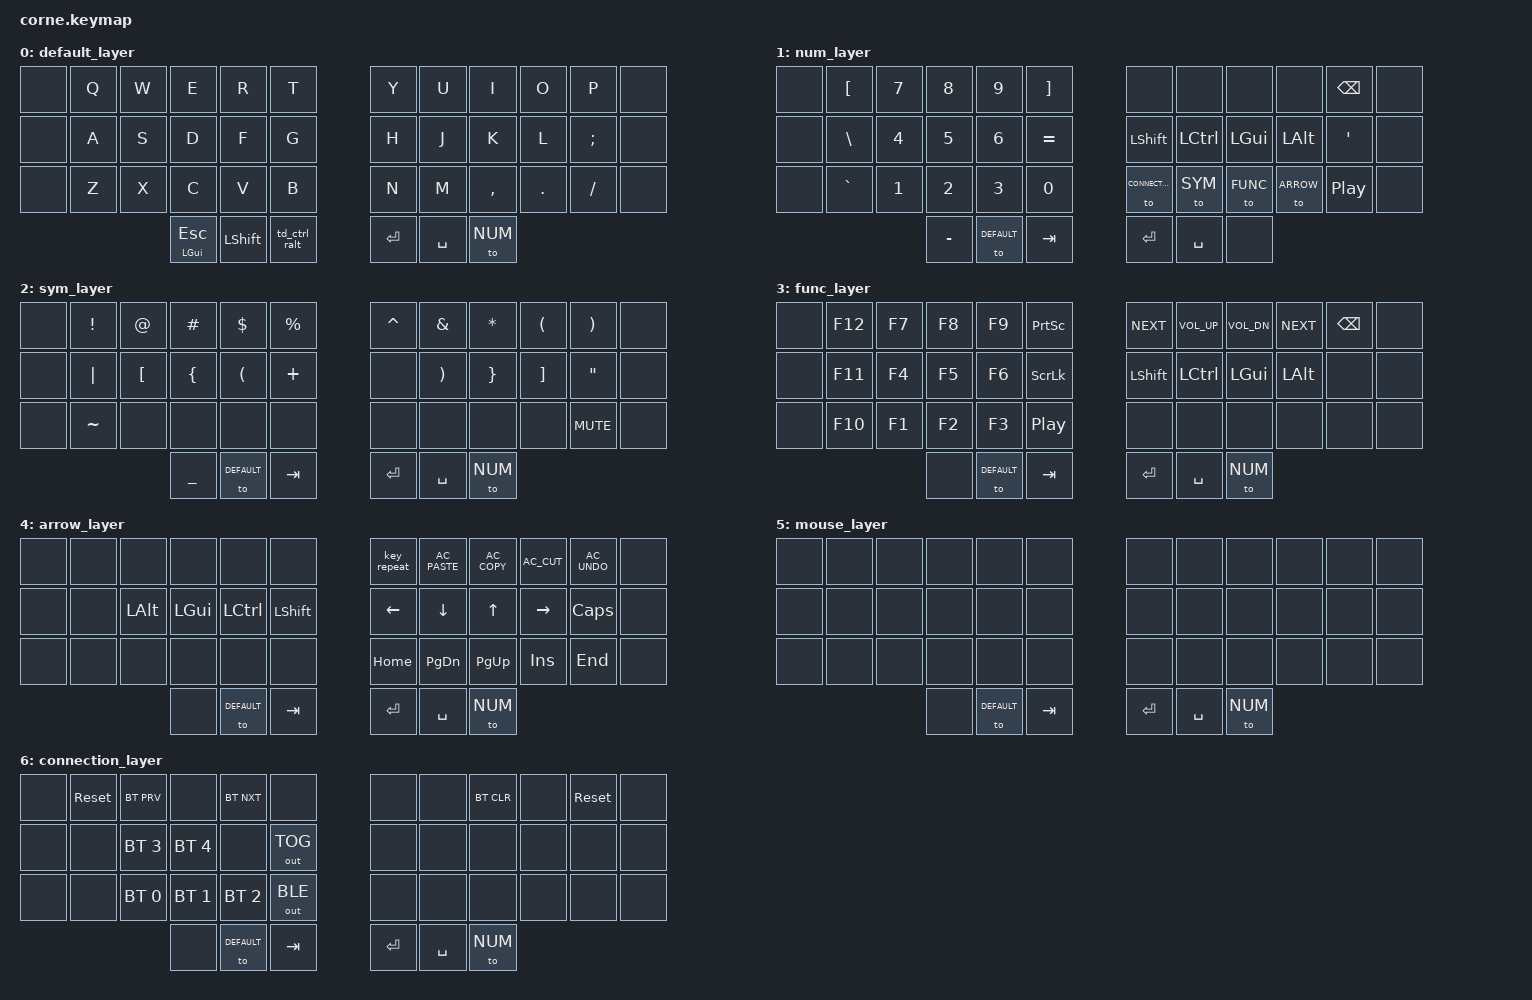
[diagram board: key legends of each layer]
#include <behaviors.dtsi>
#include <dt-bindings/zmk/keys.h>
#include <dt-bindings/zmk/bt.h>
#include <dt-bindings/zmk/outputs.h>

// Layers
#define DEFAULT 0
#define NUM 1
#define SYM 2
#define FUNC 3
#define ARROW 4
#define MOUSE 5
#define CONNECTION 6

// Behavior Overrides
//&ht {
  //tapping-term-ms = <200>;
  //flavor = "hold-preferred";
//};

/ {
  //combos {
  //};

  //macros {
  //};

  behaviors {
    td_ctrl_ralt: tap_dance_control_rightalt {
      compatible = "zmk,behavior-tap-dance";
      label = "TAP_DANCE_CONTROL_RIGHTALT";
      #binding-cells = <0>;
      tapping-term-ms = <200>;
      bindings = <&kp LCTRL>, <&sk RALT>;
    };
  };

  keymap {
    compatible = "zmk,keymap";

    default_layer {
      bindings = <
        &none &kp Q &kp W &kp E &kp R &kp T &kp Y &kp U &kp I &kp O &kp P &none
        &none &kp A &kp S &kp D &kp F &kp G &kp H &kp J &kp K &kp L &kp SEMI &none
        &none &kp Z &kp X &kp C &kp V &kp B &kp N &kp M &kp COMMA &kp DOT &kp FSLH &none
        &mt LGUI ESC &kp LSHFT &td_ctrl_ralt &kp RET &kp SPACE &to NUM
      >;
    };

    num_layer {
      bindings = <
        &none &kp LBKT &kp N7 &kp N8 &kp N9 &kp RBKT &none &none &none &none &kp BSPC &none
        &none &kp BSLH &kp N4 &kp N5 &kp N6 &kp EQUAL &kp LSHFT &kp LCTRL &kp LGUI &kp LALT &kp SQT &none
        &none &kp GRAVE &kp N1 &kp N2 &kp N3 &kp N0 &to CONNECTION &to SYM &to FUNC &to ARROW &kp C_PP &none
        &kp MINUS &to DEFAULT &kp TAB &kp RET &kp SPACE &none
      >;
    };

    sym_layer {
      bindings = <
        &none &kp EXCL &kp AT &kp HASH &kp DLLR &kp PRCNT &kp CARET &kp AMPS &kp ASTRK &kp LPAR &kp RPAR &none
        &none &kp PIPE &kp LBKT &kp LBRC &kp LPAR &kp PLUS &none &kp RPAR &kp RBRC &kp RBKT &kp DQT &none
        &none &kp TILDE &none &none &none &none &none &none &none &none &kp C_MUTE &none
        &kp UNDER &to DEFAULT &kp TAB &kp RET &kp SPACE &to NUM
      >;
    };

    func_layer {
      bindings =<
        &none &kp F12 &kp F7 &kp F8 &kp F9 &kp PSCRN &kp C_NEXT &kp C_VOL_UP &kp C_VOL_DN &kp C_NEXT &kp BSPC &none
        &none &kp F11 &kp F4 &kp F5 &kp F6 &kp SLCK &kp LSHFT &kp LCTRL &kp LGUI &kp LALT &none &none
        &none &kp F10 &kp F1 &kp F2 &kp F3 &kp C_PP &none &none &none &none &none &none
        &none &to DEFAULT &kp TAB &kp RET &kp SPACE &to NUM
      >;
    };

    arrow_layer {
      bindings = <
        &none &none &none &none &none &none &key_repeat &kp C_AC_PASTE &kp C_AC_COPY &kp C_AC_CUT &kp C_AC_UNDO &none
        &none &none &kp LALT &kp LGUI &kp LCTRL &kp LSHFT &kp LEFT &kp DOWN &kp UP &kp RIGHT &kp CAPS &none
        &none &none &none &none &none &none &kp HOME &kp PG_DN &kp PG_UP &kp INS &kp END &none
        &none &to DEFAULT &kp TAB &kp RET &kp SPACE &to NUM
      >;
    };

    mouse_layer {
      bindings = <
        &none &none &none &none &none &none &none &none &none &none &none &none
        &none &none &none &none &none &none &none &none &none &none &none &none
        &none &none &none &none &none &none &none &none &none &none &none &none
        &none &to DEFAULT &kp TAB &kp RET &kp SPACE &to NUM
      >;
    };

    connection_layer {
      bindings = <
        &none &sys_reset &bt BT_PRV &none &bt BT_NXT &none &none &none &bt BT_CLR &none &sys_reset &none
        &none &none &bt BT_SEL 3 &bt BT_SEL 4 &none &out OUT_TOG &none &none &none &none &none &none
        &none &none &bt BT_SEL 0 &bt BT_SEL 1 &bt BT_SEL 2 &out OUT_BLE &none &none &none &none &none &none
        &none &to DEFAULT &kp TAB &kp RET &kp SPACE &to NUM
      >;
    };
  };
};
